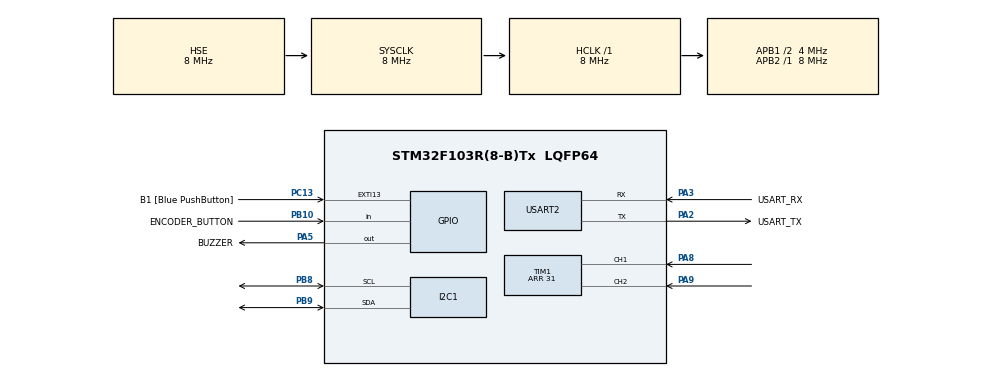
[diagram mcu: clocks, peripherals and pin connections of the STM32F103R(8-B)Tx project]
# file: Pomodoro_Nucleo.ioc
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Mcu.Family=STM32F1
Mcu.Name=STM32F103R(8-B)Tx
Mcu.Package=LQFP64
NVIC.EXTI15_10_IRQn=true\:0\:0\:false\:true\:true\:2\:true\:true\:true
NVIC.PriorityGroup=NVIC_PRIORITYGROUP_4
NVIC.TIM2_IRQn=true\:1\:0\:true\:true\:true\:3\:true\:true\:true
NVIC.TIM3_IRQn=true\:1\:0\:true\:true\:true\:1\:true\:true\:true
PA13.GPIO_Label=TMS
PA13.Mode=Serial_Wire
PA13.Signal=SYS_JTMS-SWDIO
PA14.GPIO_Label=TCK
PA14.Mode=Serial_Wire
PA14.Signal=SYS_JTCK-SWCLK
PA2.GPIO_Label=USART_TX
PA2.GPIO_Mode=GPIO_MODE_AF_PP
PA2.GPIO_PuPd=GPIO_NOPULL
PA2.GPIO_Speed=GPIO_SPEED_FREQ_LOW
PA2.Mode=Asynchronous
PA2.Signal=USART2_TX
PA3.GPIO_Label=USART_RX
PA3.GPIO_Mode=GPIO_MODE_AF_PP
PA3.GPIO_PuPd=GPIO_NOPULL
PA3.GPIO_Speed=GPIO_SPEED_FREQ_LOW
PA3.Mode=Asynchronous
PA3.Signal=USART2_RX
PA5.GPIO_Label=BUZZER
PA5.GPIO_ModeDefaultOutputPP=GPIO_MODE_OUTPUT_PP
PA5.GPIO_PuPd=GPIO_NOPULL
PA5.GPIO_Speed=GPIO_SPEED_FREQ_LOW
PA5.Signal=GPIO_Output
PA8.Signal=S_TIM1_CH1
PA9.Signal=S_TIM1_CH2
PB10.GPIO_Label=ENCODER_BUTTON
PB10.GPIO_PuPd=GPIO_PULLUP
PB10.Signal=GPIO_Input
PB3.GPIO_Label=SWO
PB3.Signal=SYS_JTDO-TRACESWO
PB8.Mode=I2C
PB8.Signal=I2C1_SCL
PB9.Mode=I2C
PB9.Signal=I2C1_SDA
PC13-TAMPER-RTC.GPIO_Label=B1 [Blue PushButton]
PC13-TAMPER-RTC.GPIO_ModeDefaultEXTI=GPIO_MODE_IT_FALLING
PC13-TAMPER-RTC.GPIO_PuPd=GPIO_PULLUP
PC13-TAMPER-RTC.Signal=GPXTI13
PC14-OSC32_IN.Mode=LSE-External-Oscillator
PC14-OSC32_IN.Signal=RCC_OSC32_IN
PC15-OSC32_OUT.Mode=LSE-External-Oscillator
PC15-OSC32_OUT.Signal=RCC_OSC32_OUT
PD0-OSC_IN.Mode=HSE-External-Clock-Source
PD0-OSC_IN.Signal=RCC_OSC_IN
PD1-OSC_OUT.Mode=HSE-External-Clock-Source
PD1-OSC_OUT.Signal=RCC_OSC_OUT
ProjectManager.HeapSize=0x200
ProjectManager.StackSize=0x400
ProjectManager.TargetToolchain=STM32CubeIDE
RCC.AHBFreq_Value=8000000
RCC.APB1CLKDivider=RCC_HCLK_DIV2
RCC.APB1Freq_Value=4000000
RCC.APB1TimFreq_Value=8000000
RCC.APB2Freq_Value=8000000
RCC.APB2TimFreq_Value=8000000
RCC.HCLKFreq_Value=8000000
RCC.PLLMUL=RCC_PLL_MUL16
RCC.RTCClockSelection=RCC_RTCCLKSOURCE_LSE
RCC.SYSCLKFreq_VALUE=8000000
RCC.SYSCLKSource=RCC_SYSCLKSOURCE_HSE
RCC.USBFreq_Value=64000000
SH.S_TIM1_CH1.0=TIM1_CH1,Encoder_Interface
SH.S_TIM1_CH2.0=TIM1_CH2,Encoder_Interface
TIM1.EncoderMode=TIM_ENCODERMODE_TI1
TIM1.IC1Filter=15
TIM1.IC2Filter=15
TIM1.Period=31
TIM1.TIM_MasterOutputTrigger=TIM_TRGO_RESET
TIM2.Period=5999
TIM2.Prescaler=799
TIM3.Period=9999
TIM3.Prescaler=799
USART2.VirtualMode=VM_ASYNC
VP_TIM2_VS_ClockSourceINT.Mode=Internal
VP_TIM3_VS_ClockSourceINT.Mode=Internal
board=NUCLEO-F103RB

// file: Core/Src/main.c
/* USER CODE BEGIN Header */
/**
  ******************************************************************************
  * @file           : main.c
  * @brief          : Main program body
  ******************************************************************************
  * @attention
  *
  * Copyright (c) 2024 STMicroelectronics.
  * All rights reserved.
  *
  * This software is licensed under terms that can be found in the LICENSE file
  * in the root directory of this software component.
  * If no LICENSE file comes with this software, it is provided AS-IS.
  *
  ******************************************************************************
  */
/* USER CODE END Header */
#include "main.h"
#include "i2c.h"
#include "tim.h"
#include "usart.h"
#include "gpio.h"

/* USER CODE BEGIN Includes */
#include "SSD1306_OLED.h"
#include "GFX_BW.h"
#include "fonts/fonts.h"
#include "stdio.h"
#include "Pomodoro_StateMachine.h"
#include "Pomodoro_Display.h"
#include "Encoder.h"
#include "Button.h"
#include "Buzzer.h"
#include "stdbool.h"

/* USER CODE END Includes */

/* USER CODE BEGIN PD */
TPomodoro MainPomodoro;
TEncoder MainEncoder;
TButton MainButton;
/* USER CODE END PD */

void SystemClock_Config(void);
static void MX_NVIC_Init(void);

int main(void)
{

  /* MCU Configuration--------------------------------------------------------*/

  /* Reset of all peripherals, Initializes the Flash interface and the Systick. */
  HAL_Init();

  /* Configure the system clock */
  SystemClock_Config();

  /* Initialize all configured peripherals */
  MX_GPIO_Init();
  MX_I2C1_Init();
  MX_USART2_UART_Init();
  MX_TIM3_Init();
  MX_TIM1_Init();
  MX_TIM2_Init();

  /* Initialize interrupts */
  MX_NVIC_Init();
  /* USER CODE BEGIN 2 */
  HAL_TIM_Base_Start_IT(&htim2);

  /*
   * Initalization of Display
   */
  SSD1306_Init(&hi2c1);
  GFX_SetFont(font_8x5);
  GFX_SetFontSize(1);

  EncoderInit(&MainEncoder);
  ButtonInit(&MainButton,ENCODER_BUTTON_GPIO_Port,ENCODER_BUTTON_Pin);
  PomodoroInit(&MainPomodoro);
  /* USER CODE END 2 */

  /* Infinite loop */
  /* USER CODE BEGIN WHILE */
  while (1)
  {
	  EncoderTask(&MainEncoder);
	  ButtonTask(&MainButton);
	  PomodoroTask(&MainPomodoro);
    /* USER CODE END WHILE */

  }
}

void SystemClock_Config(void)
{
  RCC_OscInitTypeDef RCC_OscInitStruct = {0};
  RCC_ClkInitTypeDef RCC_ClkInitStruct = {0};

  /** Initializes the RCC Oscillators according to the specified parameters
  * in the RCC_OscInitTypeDef structure.
  */
  RCC_OscInitStruct.OscillatorType = RCC_OSCILLATORTYPE_HSE;
  RCC_OscInitStruct.HSEState = RCC_HSE_BYPASS;
  RCC_OscInitStruct.PLL.PLLState = RCC_PLL_NONE;
  if (HAL_RCC_OscConfig(&RCC_OscInitStruct) != HAL_OK)
  {
    Error_Handler();
  }

  /** Initializes the CPU, AHB and APB buses clocks
  */
  RCC_ClkInitStruct.ClockType = RCC_CLOCKTYPE_HCLK|RCC_CLOCKTYPE_SYSCLK
                              |RCC_CLOCKTYPE_PCLK1|RCC_CLOCKTYPE_PCLK2;
  RCC_ClkInitStruct.SYSCLKSource = RCC_SYSCLKSOURCE_HSE;
  RCC_ClkInitStruct.AHBCLKDivider = RCC_SYSCLK_DIV1;
  RCC_ClkInitStruct.APB1CLKDivider = RCC_HCLK_DIV2;
  RCC_ClkInitStruct.APB2CLKDivider = RCC_HCLK_DIV1;

  if (HAL_RCC_ClockConfig(&RCC_ClkInitStruct, FLASH_LATENCY_0) != HAL_OK)
  {
    Error_Handler();
  }
}

/**
  * @brief NVIC Configuration.
  * @retval None
  */
static void MX_NVIC_Init(void)
{
  /* TIM3_IRQn interrupt configuration */
  HAL_NVIC_SetPriority(TIM3_IRQn, 1, 0);
  HAL_NVIC_EnableIRQ(TIM3_IRQn);
  /* EXTI15_10_IRQn interrupt configuration */
  HAL_NVIC_SetPriority(EXTI15_10_IRQn, 0, 0);
  HAL_NVIC_EnableIRQ(EXTI15_10_IRQn);
  /* TIM2_IRQn interrupt configuration */
  HAL_NVIC_SetPriority(TIM2_IRQn, 1, 0);
  HAL_NVIC_EnableIRQ(TIM2_IRQn);
}

/* USER CODE BEGIN 4 */

void HAL_TIM_PeriodElapsedCallback(TIM_HandleTypeDef *htim)
{
	if(htim->Instance == TIM3)
	{
		HAL_TIM_Base_Start_IT(&htim3);

		MainPomodoro.ActualTimer++;
		PomodoroDisplay_SetUpdate();
	}
	if(htim->Instance == TIM2)
	{
		HAL_TIM_Base_Start_IT(&htim2);

		PomodoroDisplay_SetToggleUpdate();
	}
}

/* USER CODE END 4 */

void Error_Handler(void)
{
  __disable_irq();
  while (1)
  {
  }
}
